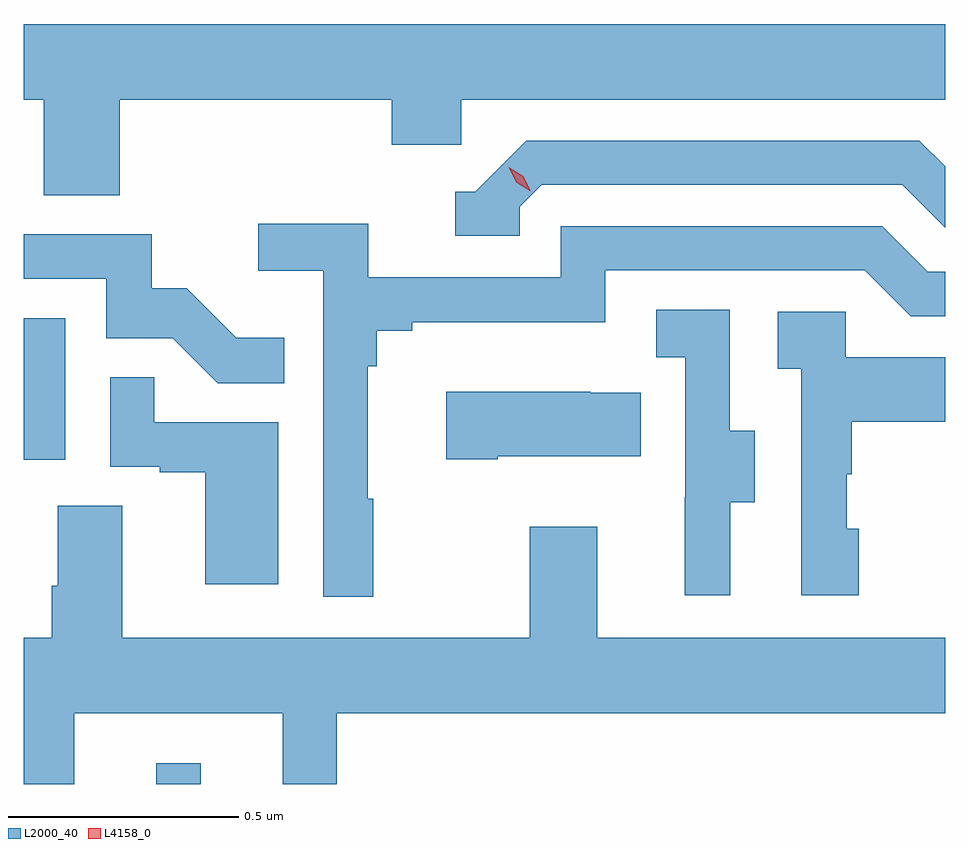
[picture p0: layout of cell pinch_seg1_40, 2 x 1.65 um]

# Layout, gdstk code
import gdstk
lib = gdstk.Library(unit=1e-6, precision=1e-09)
def R(c, l, rs):  # rectangles x0, y0, x1, y1
    for r in rs: c.add(gdstk.rectangle(r[:2], r[2:], *l))
def P(c, l, *ps):  # polygons
    for p in ps: c.add(gdstk.Polygon(p, *l))
L2000_40 = (2000, 40)
L4158_0 = (4158, 0)

pinch_seg1_40 = lib.new_cell('pinch_seg1_40')
R(pinch_seg1_40, L2000_40, [(1097.637,568.894,1097.734,568.939), (1097.35,569.598,1097.44,569.905)])
P(pinch_seg1_40, L2000_40, [(1097.35,570.38),(1097.393,570.38),(1097.393,570.172),(1097.558,570.172),(1097.558,570.38),(1098.149,570.38),(1098.149,570.282),(1098.3,570.282),(1098.3,570.38),(1099.35,570.38),(1099.35,570.544),(1097.35,570.544)],
  [(1098.426,570.147),(1098.474,570.195),(1099.257,570.195),(1099.35,570.102),(1099.35,570.235),(1099.294,570.291),(1098.441,570.291),(1098.33,570.18),(1098.287,570.18),(1098.287,570.084),(1098.426,570.084)],
  [(1098.109,569.513),(1098.097,569.513),(1098.097,569.801),(1098.116,569.801),(1098.116,569.878),(1098.193,569.878),(1098.193,569.897),(1098.612,569.897),(1098.612,570.009),(1099.176,570.009),(1099.275,569.91),(1099.35,569.91),(1099.35,570.006),(1099.312,570.006),(1099.213,570.105),(1098.516,570.105),(1098.516,569.994),(1098.098,569.994),(1098.098,570.11),(1097.859,570.11),(1097.859,570.008),(1098,570.008),(1098,569.301),(1098.109,569.301)],
  [(1097.915,569.863),(1097.811,569.863),(1097.704,569.97),(1097.628,569.97),(1097.628,570.087),(1097.35,570.087),(1097.35,569.991),(1097.529,569.991),(1097.529,569.862),(1097.673,569.862),(1097.771,569.764),(1097.915,569.764)],
  [(1098.883,569.506),(1098.937,569.506),(1098.937,569.661),(1098.882,569.661),(1098.882,569.924),(1098.723,569.924),(1098.723,569.821),(1098.786,569.821),(1098.786,569.517),(1098.785,569.517),(1098.785,569.304),(1098.883,569.304)],
  [(1099.162,569.448),(1099.137,569.448),(1099.137,569.567),(1099.147,569.567),(1099.147,569.681),(1099.35,569.681),(1099.35,569.821),(1099.134,569.821),(1099.134,569.919),(1098.987,569.919),(1098.987,569.795),(1099.038,569.795),(1099.038,569.304),(1099.162,569.304)],
  [(1097.902,569.679),(1097.633,569.679),(1097.633,569.777),(1097.538,569.777),(1097.538,569.583),(1097.645,569.583),(1097.645,569.571),(1097.744,569.571),(1097.744,569.328),(1097.902,569.328)],
  [(1098.379,569.606),(1098.689,569.606),(1098.689,569.743),(1098.581,569.743),(1098.581,569.746),(1098.267,569.746),(1098.267,569.599),(1098.379,569.599)],
  [(1097.459,569.048),(1097.912,569.048),(1097.912,568.894),(1098.029,568.894),(1098.029,569.048),(1099.35,569.048),(1099.35,569.212),(1098.595,569.212),(1098.595,569.452),(1098.448,569.452),(1098.448,569.212),(1097.563,569.212),(1097.563,569.498),(1097.423,569.498),(1097.423,569.324),(1097.411,569.324),(1097.411,569.212),(1097.35,569.212),(1097.35,568.894),(1097.459,568.894)])
P(pinch_seg1_40, L4158_0, [(1098.45,570.181),(1098.419,570.2),(1098.403,570.233),(1098.403,570.233),(1098.403,570.233),(1098.434,570.214),(1098.45,570.181),(1098.45,570.181)])

lib.write_gds('pinch_seg1_40.gds')
